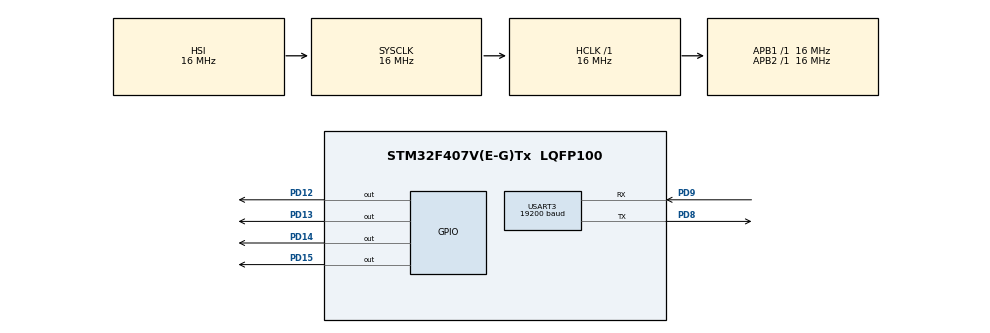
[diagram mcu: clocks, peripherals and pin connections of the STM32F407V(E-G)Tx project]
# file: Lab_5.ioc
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Mcu.Family=STM32F4
Mcu.Name=STM32F407V(E-G)Tx
Mcu.Package=LQFP100
NVIC.PriorityGroup=NVIC_PRIORITYGROUP_4
PD12.Signal=GPIO_Output
PD13.Signal=GPIO_Output
PD14.Signal=GPIO_Output
PD15.Signal=GPIO_Output
PD8.Mode=Asynchronous
PD8.Signal=USART3_TX
PD9.Mode=Asynchronous
PD9.Signal=USART3_RX
ProjectManager.HeapSize=0x200
ProjectManager.StackSize=0x400
ProjectManager.TargetToolchain=STM32CubeIDE
RCC.AHBFreq_Value=16000000
RCC.APB1Freq_Value=16000000
RCC.APB2Freq_Value=16000000
RCC.CortexFreq_Value=16000000
RCC.HSE_VALUE=25000000
RCC.HSI_VALUE=16000000
RCC.LSE_VALUE=32768
RCC.SYSCLKFreq_VALUE=16000000
RCC.VCOOutputFreq_Value=192000000
USART3.BaudRate=19200
USART3.VirtualMode=VM_ASYNC
board=custom

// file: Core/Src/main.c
/* USER CODE BEGIN Header */
/**
  ******************************************************************************
  * @file           : main.c
  * @brief          : Main program body
  ******************************************************************************
  * @attention
  *
  * Copyright (c) 2025 STMicroelectronics.
  * All rights reserved.
  *
  * This software is licensed under terms that can be found in the LICENSE file
  * in the root directory of this software component.
  * If no LICENSE file comes with this software, it is provided AS-IS.
  *
  ******************************************************************************
  */
/* USER CODE END Header */
#include "main.h"

/* USER CODE BEGIN Includes */
#include <stdbool.h>
/* USER CODE END Includes */

UART_HandleTypeDef huart3;

/* USER CODE BEGIN PV */
bool green_LED_flag = false; // false - turned off
bool orange_LED_flag = false;
bool red_LED_flag = false;
bool blue_LED_flag = false;

/* USER CODE END PV */

void SystemClock_Config(void);
static void MX_GPIO_Init(void);
static void MX_USART3_UART_Init(void);

int main(void)
{

  /* MCU Configuration--------------------------------------------------------*/

  /* Reset of all peripherals, Initializes the Flash interface and the Systick. */
  HAL_Init();

  /* Configure the system clock */
  SystemClock_Config();

  /* Initialize all configured peripherals */
  MX_GPIO_Init();
  MX_USART3_UART_Init();

  /* Infinite loop */
  /* USER CODE BEGIN WHILE */
  while (1)
  {
	  uint8_t rcvBuf[1];
	  HAL_StatusTypeDef result;

	  result = HAL_UART_Receive(&huart3, rcvBuf, 1, 10);

	  if (result == HAL_OK)
	  {
		  switch (rcvBuf[0])
		  {
			case '1':
				green_LED_flag = !green_LED_flag;
				if (green_LED_flag)
				{
					HAL_GPIO_WritePin(GPIOD, GPIO_PIN_12, GPIO_PIN_SET);
					HAL_UART_Transmit(&huart3, (uint8_t*) " - Green ON\r\n", 13, 100);
				}
				else
				{
					HAL_GPIO_WritePin(GPIOD, GPIO_PIN_12, GPIO_PIN_RESET);
					HAL_UART_Transmit(&huart3, (uint8_t*) " - Green OFF\r\n", 14, 100);
				}
				break;

			case '2':
				orange_LED_flag = !orange_LED_flag;
				if (orange_LED_flag)
				{
					HAL_GPIO_WritePin(GPIOD, GPIO_PIN_13, GPIO_PIN_SET);
					HAL_UART_Transmit(&huart3, (uint8_t*) " - Orange ON\r\n", 14, 100);
				}
				else
				{
					HAL_GPIO_WritePin(GPIOD, GPIO_PIN_13, GPIO_PIN_RESET);
					HAL_UART_Transmit(&huart3, (uint8_t*) " - Orange OFF\r\n", 15, 100);
				}
				break;

			case '3':
				red_LED_flag = !red_LED_flag;
				if (red_LED_flag)
				{
					HAL_GPIO_WritePin(GPIOD, GPIO_PIN_14, GPIO_PIN_SET);
					HAL_UART_Transmit(&huart3, (uint8_t*) " - Red ON\r\n", 11, 100);
				}
				else
				{
					HAL_GPIO_WritePin(GPIOD, GPIO_PIN_14, GPIO_PIN_RESET);
					HAL_UART_Transmit(&huart3, (uint8_t*) " - Red OFF\r\n", 12, 100);
				}
				break;

			case '4':
				blue_LED_flag = !blue_LED_flag;
				if (blue_LED_flag)
				{
					HAL_GPIO_WritePin(GPIOD, GPIO_PIN_15, GPIO_PIN_SET);
					HAL_UART_Transmit(&huart3, (uint8_t*) " - Blue ON\r\n", 12, 100);
				}
				else
				{
					HAL_GPIO_WritePin(GPIOD, GPIO_PIN_15, GPIO_PIN_RESET);
					HAL_UART_Transmit(&huart3, (uint8_t*) " - Blue OFF\r\n", 13, 100);
				}
				break;

			case '5':
				green_LED_flag = true;
				orange_LED_flag = true;
				red_LED_flag = true;
				blue_LED_flag = true;

				HAL_GPIO_WritePin(GPIOD, GPIO_PIN_12, GPIO_PIN_SET);
				HAL_GPIO_WritePin(GPIOD, GPIO_PIN_13, GPIO_PIN_SET);
				HAL_GPIO_WritePin(GPIOD, GPIO_PIN_14, GPIO_PIN_SET);
				HAL_GPIO_WritePin(GPIOD, GPIO_PIN_15, GPIO_PIN_SET);

				HAL_UART_Transmit(&huart3, (uint8_t*) " - All ON\r\n", 11, 100);
				break;

			case '6':
				green_LED_flag = false;
				orange_LED_flag = false;
				red_LED_flag = false;
				blue_LED_flag = false;

				HAL_GPIO_WritePin(GPIOD, GPIO_PIN_12, GPIO_PIN_RESET);
				HAL_GPIO_WritePin(GPIOD, GPIO_PIN_13, GPIO_PIN_RESET);
				HAL_GPIO_WritePin(GPIOD, GPIO_PIN_14, GPIO_PIN_RESET);
				HAL_GPIO_WritePin(GPIOD, GPIO_PIN_15, GPIO_PIN_RESET);

				HAL_UART_Transmit(&huart3, (uint8_t*) " - All OFF\r\n", 11, 100);
				break;

			default:
				HAL_UART_Transmit(&huart3, (uint8_t*) " - UnexpCmd\r\n", 13, 100);
				break;
		  }
	  }
    /* USER CODE END WHILE */

  }
}

void SystemClock_Config(void)
{
  RCC_OscInitTypeDef RCC_OscInitStruct = {0};
  RCC_ClkInitTypeDef RCC_ClkInitStruct = {0};

  /** Configure the main internal regulator output voltage
  */
  __HAL_RCC_PWR_CLK_ENABLE();
  __HAL_PWR_VOLTAGESCALING_CONFIG(PWR_REGULATOR_VOLTAGE_SCALE1);

  /** Initializes the RCC Oscillators according to the specified parameters
  * in the RCC_OscInitTypeDef structure.
  */
  RCC_OscInitStruct.OscillatorType = RCC_OSCILLATORTYPE_HSI;
  RCC_OscInitStruct.HSIState = RCC_HSI_ON;
  RCC_OscInitStruct.HSICalibrationValue = RCC_HSICALIBRATION_DEFAULT;
  RCC_OscInitStruct.PLL.PLLState = RCC_PLL_NONE;
  if (HAL_RCC_OscConfig(&RCC_OscInitStruct) != HAL_OK)
  {
    Error_Handler();
  }

  /** Initializes the CPU, AHB and APB buses clocks
  */
  RCC_ClkInitStruct.ClockType = RCC_CLOCKTYPE_HCLK|RCC_CLOCKTYPE_SYSCLK
                              |RCC_CLOCKTYPE_PCLK1|RCC_CLOCKTYPE_PCLK2;
  RCC_ClkInitStruct.SYSCLKSource = RCC_SYSCLKSOURCE_HSI;
  RCC_ClkInitStruct.AHBCLKDivider = RCC_SYSCLK_DIV1;
  RCC_ClkInitStruct.APB1CLKDivider = RCC_HCLK_DIV1;
  RCC_ClkInitStruct.APB2CLKDivider = RCC_HCLK_DIV1;

  if (HAL_RCC_ClockConfig(&RCC_ClkInitStruct, FLASH_LATENCY_0) != HAL_OK)
  {
    Error_Handler();
  }
}

static void MX_USART3_UART_Init(void)
{

  huart3.Instance = USART3;
  huart3.Init.BaudRate = 19200;
  huart3.Init.WordLength = UART_WORDLENGTH_8B;
  huart3.Init.StopBits = UART_STOPBITS_1;
  huart3.Init.Parity = UART_PARITY_NONE;
  huart3.Init.Mode = UART_MODE_TX_RX;
  huart3.Init.HwFlowCtl = UART_HWCONTROL_NONE;
  huart3.Init.OverSampling = UART_OVERSAMPLING_16;
  if (HAL_UART_Init(&huart3) != HAL_OK)
  {
    Error_Handler();
  }

}

static void MX_GPIO_Init(void)
{
  GPIO_InitTypeDef GPIO_InitStruct = {0};

  /* GPIO Ports Clock Enable */
  __HAL_RCC_GPIOD_CLK_ENABLE();

  /*Configure GPIO pin Output Level */
  HAL_GPIO_WritePin(GPIOD, GPIO_PIN_12|GPIO_PIN_13|GPIO_PIN_14|GPIO_PIN_15, GPIO_PIN_RESET);

  /*Configure GPIO pins : PD12 PD13 PD14 PD15 */
  GPIO_InitStruct.Pin = GPIO_PIN_12|GPIO_PIN_13|GPIO_PIN_14|GPIO_PIN_15;
  GPIO_InitStruct.Mode = GPIO_MODE_OUTPUT_PP;
  GPIO_InitStruct.Pull = GPIO_NOPULL;
  GPIO_InitStruct.Speed = GPIO_SPEED_FREQ_LOW;
  HAL_GPIO_Init(GPIOD, &GPIO_InitStruct);

}

void Error_Handler(void)
{
  __disable_irq();
  while (1)
  {
  }
}
